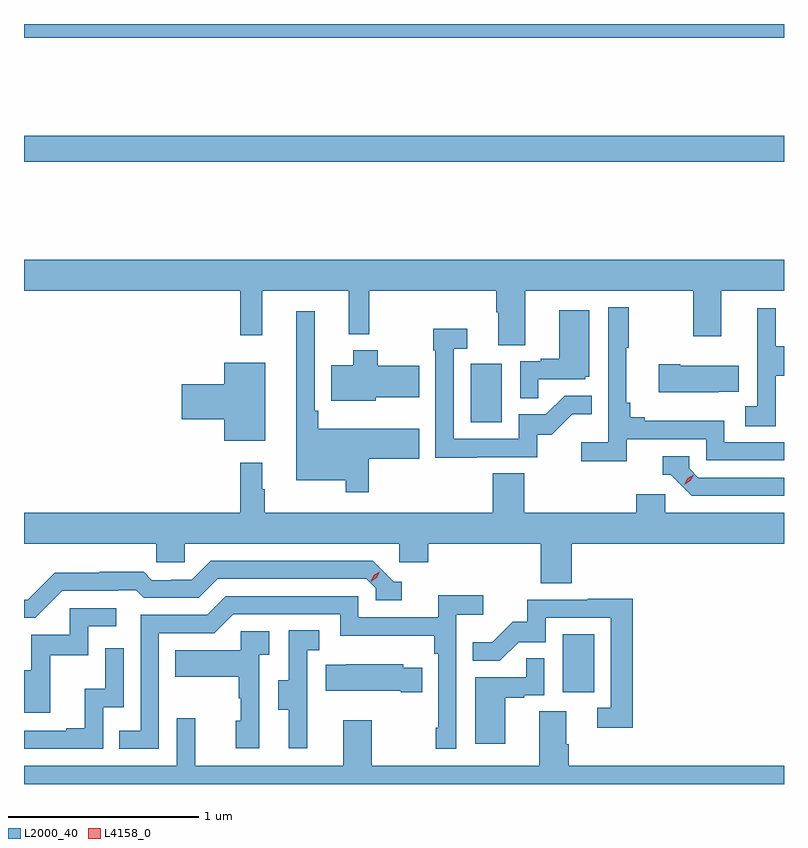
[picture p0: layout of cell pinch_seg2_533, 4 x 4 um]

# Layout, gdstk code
import gdstk
lib = gdstk.Library(unit=1e-6, precision=1e-09)
def R(c, l, rs):  # rectangles x0, y0, x1, y1
    for r in rs: c.add(gdstk.rectangle(r[:2], r[2:], *l))
def P(c, l, *ps):  # polygons
    for p in ps: c.add(gdstk.Polygon(p, *l))
L2000_40 = (2000, 40)
L4158_0 = (4158, 0)

pinch_seg2_533 = lib.new_cell('pinch_seg2_533')
R(pinch_seg2_533, L2000_40, [(1129.952,622.878,1130.116,623.185), (1129.466,624.3,1129.63,624.607), (1127.116,625.672,1131.116,625.808), (1127.116,626.324,1131.116,626.396)])
P(pinch_seg2_533, L2000_40, [(1129.753,624.992),(1130.638,624.992),(1130.638,624.753),(1130.785,624.753),(1130.785,624.992),(1131.116,624.992),(1131.116,625.156),(1127.116,625.156),(1127.116,624.992),(1128.253,624.992),(1128.253,624.759),(1128.371,624.759),(1128.371,624.992),(1128.824,624.992),(1128.824,624.764),(1128.934,624.764),(1128.934,624.992),(1129.601,624.992),(1129.601,624.88),(1129.613,624.88),(1129.613,624.706),(1129.753,624.706)],
  [(1130.288,624.21),(1130.706,624.21),(1130.706,624.099),(1131.116,624.099),(1131.116,624.195),(1130.802,624.195),(1130.802,624.307),(1130.383,624.307),(1130.383,624.326),(1130.306,624.326),(1130.306,624.403),(1130.287,624.403),(1130.287,624.691),(1130.299,624.691),(1130.299,624.904),(1130.19,624.904),(1130.19,624.196),(1130.049,624.196),(1130.049,624.094),(1130.288,624.094)],
  [(1131.072,624.544),(1131.116,624.544),(1131.116,624.699),(1131.073,624.699),(1131.073,624.901),(1130.975,624.901),(1130.975,624.687),(1130.976,624.687),(1130.976,624.383),(1130.913,624.383),(1130.913,624.28),(1131.072,624.28)],
  [(1129.823,624.525),(1130.07,624.525),(1130.07,624.54),(1130.092,624.54),(1130.092,624.889),(1129.934,624.889),(1129.934,624.634),(1129.835,624.634),(1129.835,624.621),(1129.728,624.621),(1129.728,624.427),(1129.823,624.427)],
  [(1128.931,624.107),(1129.195,624.107),(1129.195,624.265),(1128.665,624.265),(1128.665,624.361),(1128.645,624.361),(1128.645,624.883),(1128.548,624.883),(1128.548,623.996),(1128.81,623.996),(1128.81,623.931),(1128.931,623.931)],
  [(1129.499,624.117),(1129.818,624.117),(1129.818,624.234),(1129.894,624.234),(1130.001,624.341),(1130.105,624.341),(1130.105,624.44),(1129.961,624.44),(1129.863,624.342),(1129.719,624.342),(1129.719,624.213),(1129.377,624.213),(1129.377,624.687),(1129.45,624.687),(1129.45,624.793),(1129.269,624.793),(1129.269,624.68),(1129.281,624.68),(1129.281,624.112),(1129.499,624.112)],
  [(1128.966,624.431),(1129.195,624.431),(1129.195,624.597),(1128.978,624.597),(1128.978,624.679),(1128.848,624.679),(1128.848,624.601),(1128.734,624.601),(1128.734,624.413),(1128.966,624.413)],
  [(1128.385,624.613),(1128.17,624.613),(1128.17,624.5),(1127.946,624.5),(1127.946,624.317),(1128.17,624.317),(1128.17,624.203),(1128.385,624.203)],
  [(1130.771,624.461),(1130.879,624.461),(1130.879,624.598),(1130.569,624.598),(1130.569,624.606),(1130.457,624.606),(1130.457,624.458),(1130.771,624.458)],
  [(1131.116,624.009),(1130.664,624.009),(1130.616,624.057),(1130.616,624.12),(1130.477,624.12),(1130.477,624.024),(1130.52,624.024),(1130.631,623.913),(1131.116,623.913)],
  [(1130,623.66),(1131.116,623.66),(1131.116,623.824),(1130.49,623.824),(1130.49,623.922),(1130.339,623.922),(1130.339,623.824),(1129.748,623.824),(1129.748,624.032),(1129.583,624.032),(1129.583,623.824),(1128.382,623.824),(1128.382,623.948),(1128.37,623.948),(1128.37,624.088),(1128.253,624.088),(1128.253,623.824),(1127.116,623.824),(1127.116,623.66),(1127.811,623.66),(1127.811,623.562),(1127.961,623.562),(1127.961,623.66),(1129.092,623.66),(1129.092,623.562),(1129.244,623.562),(1129.244,623.66),(1129.835,623.66),(1129.835,623.452),(1130,623.452)],
  [(1127.316,623.412),(1127.609,623.412),(1127.609,623.415),(1127.708,623.415),(1127.747,623.376),(1128.036,623.376),(1128.135,623.475),(1128.918,623.475),(1128.966,623.427),(1128.966,623.364),(1129.105,623.364),(1129.105,623.46),(1129.062,623.46),(1128.951,623.571),(1128.098,623.571),(1127.999,623.472),(1127.892,623.472),(1127.892,623.469),(1127.789,623.469),(1127.747,623.512),(1127.514,623.512),(1127.514,623.509),(1127.278,623.509),(1127.136,623.367),(1127.116,623.367),(1127.116,623.271),(1127.175,623.271)],
  [(1127.826,623.19),(1128.117,623.19),(1128.216,623.289),(1128.78,623.289),(1128.78,623.177),(1129.276,623.177),(1129.276,623.081),(1129.296,623.081),(1129.296,622.693),(1129.284,622.693),(1129.284,622.581),(1129.392,622.581),(1129.392,623.288),(1129.534,623.288),(1129.534,623.39),(1129.295,623.39),(1129.295,623.274),(1128.876,623.274),(1128.876,623.385),(1128.179,623.385),(1128.08,623.286),(1127.73,623.286),(1127.73,622.677),(1127.617,622.677),(1127.617,622.581),(1127.826,622.581)],
  [(1130.321,623.372),(1130.083,623.372),(1130.083,623.367),(1129.765,623.367),(1129.765,623.25),(1129.688,623.25),(1129.581,623.143),(1129.477,623.143),(1129.477,623.044),(1129.621,623.044),(1129.719,623.142),(1129.863,623.142),(1129.863,623.271),(1130.205,623.271),(1130.205,622.797),(1130.133,622.797),(1130.133,622.692),(1130.321,622.692)],
  [(1127.255,623.073),(1127.454,623.073),(1127.454,623.226),(1127.602,623.226),(1127.602,623.322),(1127.358,623.322),(1127.358,623.181),(1127.153,623.181),(1127.153,622.995),(1127.116,622.995),(1127.116,622.77),(1127.255,622.77)],
  [(1128.608,622.797),(1128.606,622.797),(1128.606,623.101),(1128.67,623.101),(1128.67,623.204),(1128.51,623.204),(1128.51,622.941),(1128.455,622.941),(1128.455,622.786),(1128.509,622.786),(1128.509,622.584),(1128.608,622.584)],
  [(1128.354,623.075),(1128.406,623.075),(1128.406,623.199),(1128.258,623.199),(1128.258,623.101),(1127.911,623.101),(1127.911,622.961),(1128.246,622.961),(1128.246,622.847),(1128.256,622.847),(1128.256,622.728),(1128.23,622.728),(1128.23,622.584),(1128.354,622.584)],
  [(1127.532,622.8),(1127.64,622.8),(1127.64,623.11),(1127.544,623.11),(1127.544,622.898),(1127.435,622.898),(1127.435,622.69),(1127.339,622.69),(1127.339,622.677),(1127.116,622.677),(1127.116,622.581),(1127.532,622.581)],
  [(1129.648,622.851),(1129.748,622.851),(1129.748,622.863),(1129.854,622.863),(1129.854,623.057),(1129.759,623.057),(1129.759,622.959),(1129.49,622.959),(1129.49,622.608),(1129.648,622.608)],
  [(1129.211,623.008),(1129.113,623.008),(1129.113,623.026),(1128.811,623.026),(1128.811,623.023),(1128.703,623.023),(1128.703,622.886),(1129.1,622.886),(1129.1,622.879),(1129.211,622.879)],
  [(1131.116,622.492),(1129.982,622.492),(1129.982,622.604),(1129.969,622.604),(1129.969,622.778),(1129.829,622.778),(1129.829,622.492),(1128.945,622.492),(1128.945,622.732),(1128.797,622.732),(1128.797,622.492),(1128.017,622.492),(1128.017,622.741),(1127.919,622.741),(1127.919,622.492),(1127.116,622.492),(1127.116,622.396),(1131.116,622.396)])
P(pinch_seg2_533, L4158_0, [(1128.942,623.461),(1128.942,623.461),(1128.958,623.494),(1128.988,623.514),(1128.988,623.514),(1128.988,623.514),(1128.973,623.481),(1128.942,623.461)],
  [(1130.592,623.972),(1130.592,623.972),(1130.609,624.004),(1130.64,624.023),(1130.64,624.023),(1130.64,624.023),(1130.623,623.991),(1130.592,623.972)])

lib.write_gds('pinch_seg2_533.gds')
